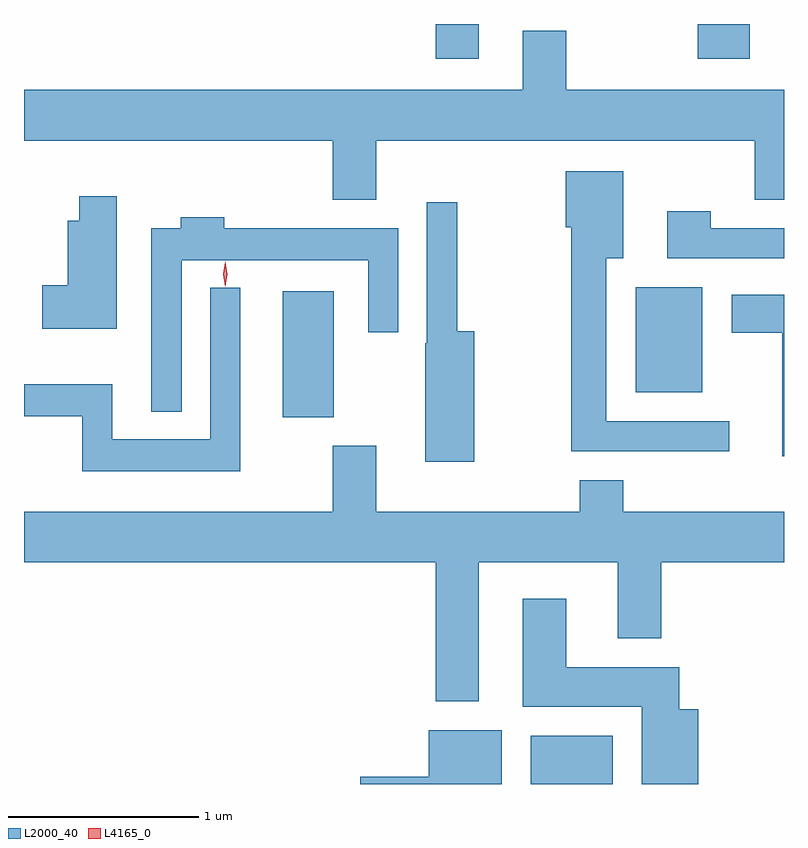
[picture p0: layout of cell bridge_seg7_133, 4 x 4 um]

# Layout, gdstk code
import gdstk
lib = gdstk.Library(unit=1e-6, precision=1e-09)
def R(c, l, rs):  # rectangles x0, y0, x1, y1
    for r in rs: c.add(gdstk.rectangle(r[:2], r[2:], *l))
def P(c, l, *ps):  # polygons
    for p in ps: c.add(gdstk.Polygon(p, *l))
L2000_40 = (2000, 40)
L4165_0 = (4165, 0)

bridge_seg7_133 = lib.new_cell('bridge_seg7_133')
R(bridge_seg7_133, L2000_40, [(1477.891,1744.23,1478.324,1744.484), (1476.586,1746.161,1476.854,1746.824), (1478.446,1746.291,1478.794,1746.844), (1477.391,1748.046,1477.619,1748.23), (1478.771,1748.046,1479.044,1748.23)])
P(bridge_seg7_133, L2000_40, [(1477.079,1747.616),(1479.071,1747.616),(1479.071,1747.306),(1479.225,1747.306),(1479.225,1747.884),(1478.079,1747.884),(1478.079,1748.194),(1477.851,1748.194),(1477.851,1747.884),(1475.225,1747.884),(1475.225,1747.616),(1476.851,1747.616),(1476.851,1747.306),(1477.079,1747.306)],
  [(1478.938,1746.139),(1478.289,1746.139),(1478.289,1746.996),(1478.379,1746.996),(1478.379,1747.454),(1478.076,1747.454),(1478.076,1747.161),(1478.106,1747.161),(1478.106,1745.981),(1478.938,1745.981)],
  [(1475.714,1747.324),(1475.516,1747.324),(1475.516,1747.194),(1475.456,1747.194),(1475.456,1746.854),(1475.321,1746.854),(1475.321,1746.626),(1475.714,1746.626)],
  [(1477.594,1746.614),(1477.504,1746.614),(1477.504,1747.293),(1477.346,1747.293),(1477.346,1746.55),(1477.336,1746.55),(1477.336,1745.926),(1477.594,1745.926)],
  [(1479.225,1747.154),(1478.839,1747.154),(1478.839,1747.244),(1478.611,1747.244),(1478.611,1746.996),(1479.225,1746.996)],
  [(1476.054,1746.986),(1477.036,1746.986),(1477.036,1746.608),(1477.194,1746.608),(1477.194,1747.154),(1476.279,1747.154),(1476.279,1747.214),(1476.051,1747.214),(1476.051,1747.154),(1475.896,1747.154),(1475.896,1746.188),(1476.054,1746.188)],
  [(1476.364,1746.843),(1476.206,1746.843),(1476.206,1746.044),(1475.689,1746.044),(1475.689,1746.334),(1475.225,1746.334),(1475.225,1746.166),(1475.531,1746.166),(1475.531,1745.876),(1476.364,1745.876)],
  [(1479.225,1746.804),(1478.951,1746.804),(1478.951,1746.606),(1479.216,1746.606),(1479.216,1745.956),(1479.225,1745.956)],
  [(1477.619,1745.396),(1478.351,1745.396),(1478.351,1744.996),(1478.579,1744.996),(1478.579,1745.396),(1479.225,1745.396),(1479.225,1745.664),(1478.379,1745.664),(1478.379,1745.829),(1478.151,1745.829),(1478.151,1745.664),(1477.079,1745.664),(1477.079,1746.009),(1476.851,1746.009),(1476.851,1745.664),(1475.225,1745.664),(1475.225,1745.396),(1477.391,1745.396),(1477.391,1744.666),(1477.619,1744.666)],
  [(1478.774,1744.624),(1478.674,1744.624),(1478.674,1744.844),(1478.079,1744.844),(1478.079,1745.204),(1477.851,1745.204),(1477.851,1744.636),(1478.476,1744.636),(1478.476,1744.23),(1478.774,1744.23)],
  [(1477.739,1744.514),(1477.356,1744.514),(1477.356,1744.269),(1476.996,1744.269),(1476.996,1744.23),(1477.739,1744.23)])
P(bridge_seg7_133, L4165_0, [(1476.284,1746.847),(1476.284,1746.847),(1476.274,1746.914),(1476.284,1746.98),(1476.284,1746.981),(1476.285,1746.98),(1476.294,1746.914),(1476.285,1746.847)])

lib.write_gds('bridge_seg7_133.gds')
